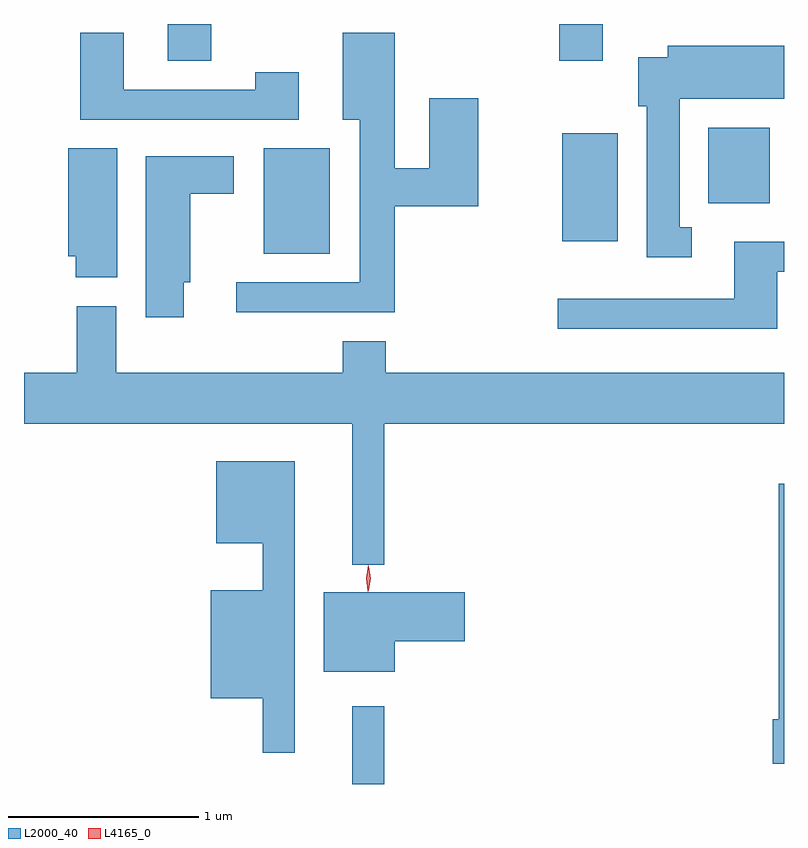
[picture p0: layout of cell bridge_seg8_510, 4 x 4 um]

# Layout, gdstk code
import gdstk
lib = gdstk.Library(unit=1e-6, precision=1e-09)
def R(c, l, rs):  # rectangles x0, y0, x1, y1
    for r in rs: c.add(gdstk.rectangle(r[:2], r[2:], *l))
def P(c, l, *ps):  # polygons
    for p in ps: c.add(gdstk.Polygon(p, *l))
L2000_40 = (2000, 40)
L4165_0 = (4165, 0)

bridge_seg8_510 = lib.new_cell('bridge_seg8_510')
R(bridge_seg8_510, L2000_40, [(258.191,1845.619,258.359,1846.028), (257.726,1848.411,258.074,1848.964), (259.296,1848.476,259.589,1849.044), (260.066,1848.676,260.389,1849.074), (257.221,1849.426,257.449,1849.619), (259.281,1849.426,259.509,1849.619)])
P(bridge_seg8_510, L2000_40, [(257.909,1849.364),(257.681,1849.364),(257.681,1849.274),(256.989,1849.274),(256.989,1849.574),(256.761,1849.574),(256.761,1849.116),(257.909,1849.116)],
  [(258.414,1848.661),(258.854,1848.661),(258.854,1849.229),(258.596,1849.229),(258.596,1848.859),(258.414,1848.859),(258.414,1849.574),(258.141,1849.574),(258.141,1849.116),(258.231,1849.116),(258.231,1848.259),(257.582,1848.259),(257.582,1848.101),(258.414,1848.101)],
  [(259.978,1848.549),(259.914,1848.549),(259.914,1849.226),(260.464,1849.226),(260.464,1849.504),(259.851,1849.504),(259.851,1849.444),(259.696,1849.444),(259.696,1849.186),(259.741,1849.186),(259.741,1848.391),(259.978,1848.391)],
  [(256.954,1848.964),(256.696,1848.964),(256.696,1848.396),(256.736,1848.396),(256.736,1848.286),(256.954,1848.286)],
  [(257.304,1848.261),(257.339,1848.261),(257.339,1848.726),(257.569,1848.726),(257.569,1848.924),(257.106,1848.924),(257.106,1848.076),(257.304,1848.076)],
  [(260.429,1848.316),(260.464,1848.316),(260.464,1848.474),(260.201,1848.474),(260.201,1848.174),(259.272,1848.174),(259.272,1848.016),(260.429,1848.016)],
  [(258.359,1847.516),(260.464,1847.516),(260.464,1847.784),(258.369,1847.784),(258.369,1847.949),(258.141,1847.949),(258.141,1847.784),(256.949,1847.784),(256.949,1848.134),(256.741,1848.134),(256.741,1847.784),(256.464,1847.784),(256.464,1847.516),(258.191,1847.516),(258.191,1846.773),(258.359,1846.773)],
  [(257.889,1847.319),(257.476,1847.319),(257.476,1846.886),(257.721,1846.886),(257.721,1846.639),(257.446,1846.639),(257.446,1846.071),(257.721,1846.071),(257.721,1845.783),(257.889,1845.783)],
  [(260.464,1847.199),(260.436,1847.199),(260.436,1845.959),(260.406,1845.959),(260.406,1845.726),(260.464,1845.726)],
  [(258.414,1846.371),(258.784,1846.371),(258.784,1846.629),(258.041,1846.629),(258.041,1846.211),(258.414,1846.211)])
P(bridge_seg8_510, L4165_0, [(258.274,1846.634),(258.266,1846.702),(258.276,1846.77),(258.277,1846.77),(258.277,1846.77),(258.286,1846.702),(258.276,1846.634),(258.275,1846.634)],
  [(258.278,1846.64),(258.278,1846.64),(258.268,1846.703),(258.277,1846.766),(258.277,1846.767),(258.278,1846.766),(258.288,1846.703),(258.278,1846.64)])

lib.write_gds('bridge_seg8_510.gds')
